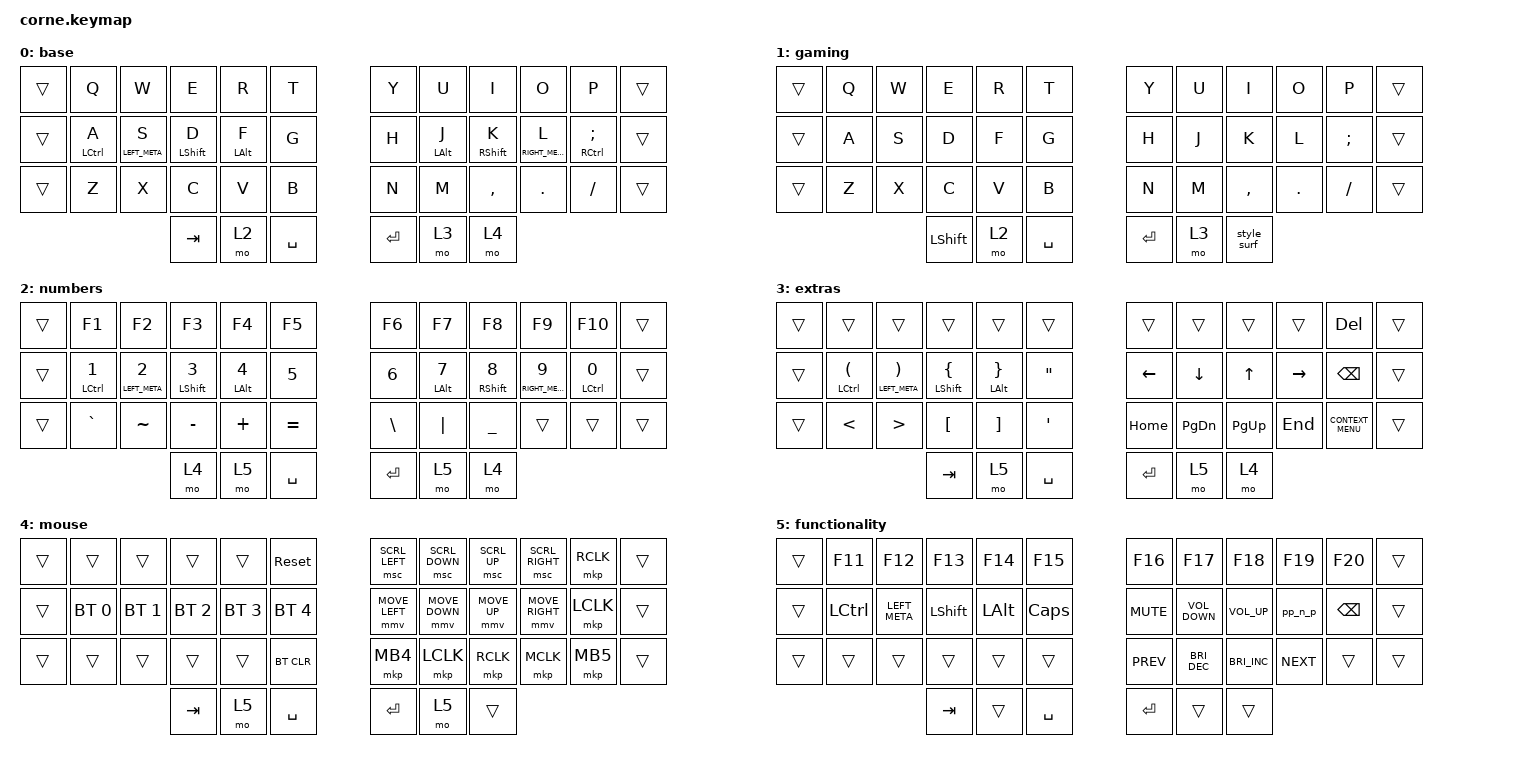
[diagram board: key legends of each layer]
/*
 * Copyright (c) 2020 The ZMK Contributors
 *
 * SPDX-License-Identifier: MIT
 */

#define ZMK_POINTING_DEFAULT_MOVE_VAL 600  // default: 600
#define ZMK_POINTING_DEFAULT_SCRL_VAL 5    // default: 10

#include <behaviors.dtsi>
#include <dt-bindings/zmk/bt.h>
#include <dt-bindings/zmk/keys.h>
#include <dt-bindings/zmk/pointing.h>

/ {
    behaviors {
        hm: homerow_mods {
            compatible = "zmk,behavior-hold-tap";
            label = "HOMEROW_MODS";
            bindings = <&kp>, <&kp>;

            #binding-cells = <2>;
            tapping-term-ms = <300>;
            flavor = "tap-preferred";
            quick-tap-ms = <150>;
        };

        shift: shift {
            compatible = "zmk,behavior-hold-tap";
            label = "SHIFT";
            bindings = <&kp>, <&kp>;

            #binding-cells = <2>;
            tapping-term-ms = <300>;
            flavor = "tap-preferred";
            quick-tap-ms = <150>;
            require-prior-idle-ms = <(-1)>;
        };

        pp_n_p: pp_n_p {
            compatible = "zmk,behavior-tap-dance";
            label = "PP_N_P";
            #binding-cells = <0>;
            bindings = <&kp C_PLAY_PAUSE>, <&kp C_NEXT>, <&kp C_PREV>;

            tapping-term-ms = <200>;
        };
    };

    combos {
        compatible = "zmk,combos";

        Escape {
            bindings = <&kp ESCAPE>;
            key-positions = <13 27>;
        };

        MCtoggler {
            bindings = <&tog 1>;
            key-positions = <31 27>;
        };
    };

    macros {
        style_surf: style_surf {
            compatible = "zmk,behavior-macro";
            #binding-cells = <0>;
            bindings =
                <&kp F>,
                <&macro_wait_time 300>,
                <&mkp MB1>,
                <&macro_wait_time 300>,
                <&kp F>,
                <&macro_wait_time 300>,
                <&mkp MB2>,
                <&macro_wait_time 300>,
                <&msc MOVE_X(5)>;

            label = "STYLE_SURF";
        };
    };

    keymap {
        compatible = "zmk,keymap";

        base {
            // -----------------------------------------------------------------------------------------
            // |  TAB |  Q  |  W  |  E  |  R  |  T  |   |  Y  |  U   |  I  |  O  |  P  | BSPC |
            // | CTRL |  A  |  S  |  D  |  F  |  G  |   |  H  |  J   |  K  |  L  |  ;  |  '   |
            // | SHFT |  Z  |  X  |  C  |  V  |  B  |   |  N  |  M   |  ,  |  .  |  /  | ESC  |
            //                    | GUI | LWR | SPC |   | ENT | RSE  | ALT |

            bindings = <
&trans  &kp Q        &kp W            &kp E                &kp R           &kp T        &kp Y    &kp U           &kp I                 &kp O             &kp P                &trans
&trans  &hm LCTRL A  &hm LEFT_META S  &shift LEFT_SHIFT D  &hm LEFT_ALT F  &kp G        &kp H    &hm LEFT_ALT J  &shift RIGHT_SHIFT K  &hm RIGHT_META L  &hm RCTRL SEMICOLON  &trans
&trans  &kp Z        &kp X            &kp C                &kp V           &kp B        &kp N    &kp M           &kp COMMA             &kp DOT           &kp FSLH             &trans
                                      &kp TAB              &mo 2           &kp SPACE    &kp RET  &mo 3           &mo 4
            >;
        };

        gaming {
            bindings = <
&trans  &kp Q  &kp W  &kp E      &kp R  &kp T        &kp Y      &kp U  &kp I        &kp O    &kp P     &trans
&trans  &kp A  &kp S  &kp D      &kp F  &kp G        &kp H      &kp J  &kp K        &kp L    &kp SEMI  &trans
&trans  &kp Z  &kp X  &kp C      &kp V  &kp B        &kp N      &kp M  &kp COMMA    &kp DOT  &kp FSLH  &trans
                      &kp LSHFT  &mo 2  &kp SPACE    &kp ENTER  &mo 3  &style_surf
            >;
        };

        numbers {
            bindings = <
&trans  &kp F1              &kp F2                  &kp F3                      &kp F4                 &kp F5          &kp F6         &kp F7                 &kp F8                 &kp F9             &kp F10       &trans
&trans  &hm LCTRL NUMBER_1  &hm LEFT_META NUMBER_2  &shift LEFT_SHIFT NUMBER_3  &hm LEFT_ALT NUMBER_4  &kp NUMBER_5    &kp NUMBER_6   &hm LEFT_ALT NUMBER_7  &shift RIGHT_SHIFT N8  &hm RIGHT_META N9  &hm LCTRL N0  &trans
&trans  &kp GRAVE           &kp TILDE               &kp MINUS                   &kp PLUS               &kp EQUAL       &kp BACKSLASH  &kp PIPE               &kp UNDERSCORE         &trans             &trans        &trans
                                                    &mo 4                       &mo 5                  &kp SPACE       &kp RETURN     &mo 5                  &mo 4
            >;
        };

        extras {
            bindings = <
&trans  &trans                      &trans                           &trans                        &trans                    &trans               &trans    &trans          &trans        &trans     &kp DELETE          &trans
&trans  &hm LCTRL LEFT_PARENTHESIS  &hm LEFT_META RIGHT_PARENTHESIS  &shift LEFT_SHIFT LEFT_BRACE  &hm LEFT_ALT RIGHT_BRACE  &kp DOUBLE_QUOTES    &kp LEFT  &kp DOWN_ARROW  &kp UP_ARROW  &kp RIGHT  &kp BACKSPACE       &trans
&trans  &kp LESS_THAN               &kp GREATER_THAN                 &kp LEFT_BRACKET              &kp RIGHT_BRACKET         &kp SQT              &kp HOME  &kp PAGE_DOWN   &kp PAGE_UP   &kp END    &kp K_CONTEXT_MENU  &trans
                                                                     &kp TAB                       &mo 5                     &kp SPACE            &kp RET   &mo 5           &mo 4
            >;
        };

        mouse {
            bindings = <
&trans  &trans        &trans        &trans        &trans        &sys_reset      &msc SCRL_LEFT  &msc SCRL_DOWN  &msc SCRL_UP  &msc SCRL_RIGHT  &mkp RCLK  &trans
&trans  &bt BT_SEL 0  &bt BT_SEL 1  &bt BT_SEL 2  &bt BT_SEL 3  &bt BT_SEL 4    &mmv MOVE_LEFT  &mmv MOVE_DOWN  &mmv MOVE_UP  &mmv MOVE_RIGHT  &mkp LCLK  &trans
&trans  &trans        &trans        &trans        &trans        &bt BT_CLR      &mkp MB4        &mkp LCLK       &mkp RCLK     &mkp MCLK        &mkp MB5   &trans
                                    &kp TAB       &mo 5         &kp SPACE       &kp RETURN      &mo 5           &trans
            >;
        };

        functionality {
            bindings = <
&trans  &kp F11    &kp F12        &kp F13         &kp F14       &kp F15      &kp F16     &kp F17               &kp F18               &kp F19     &kp F20        &trans
&trans  &kp LCTRL  &kp LEFT_META  &kp LEFT_SHIFT  &kp LEFT_ALT  &kp CAPS     &kp K_MUTE  &kp C_VOLUME_DOWN     &kp C_VOLUME_UP       &pp_n_p     &kp BACKSPACE  &trans
&trans  &trans     &trans         &trans          &trans        &trans       &kp C_PREV  &kp C_BRIGHTNESS_DEC  &kp C_BRIGHTNESS_INC  &kp C_NEXT  &trans         &trans
                                  &kp TAB         &trans        &kp SPACE    &kp ENTER   &trans                &trans
            >;
        };
    };
};
